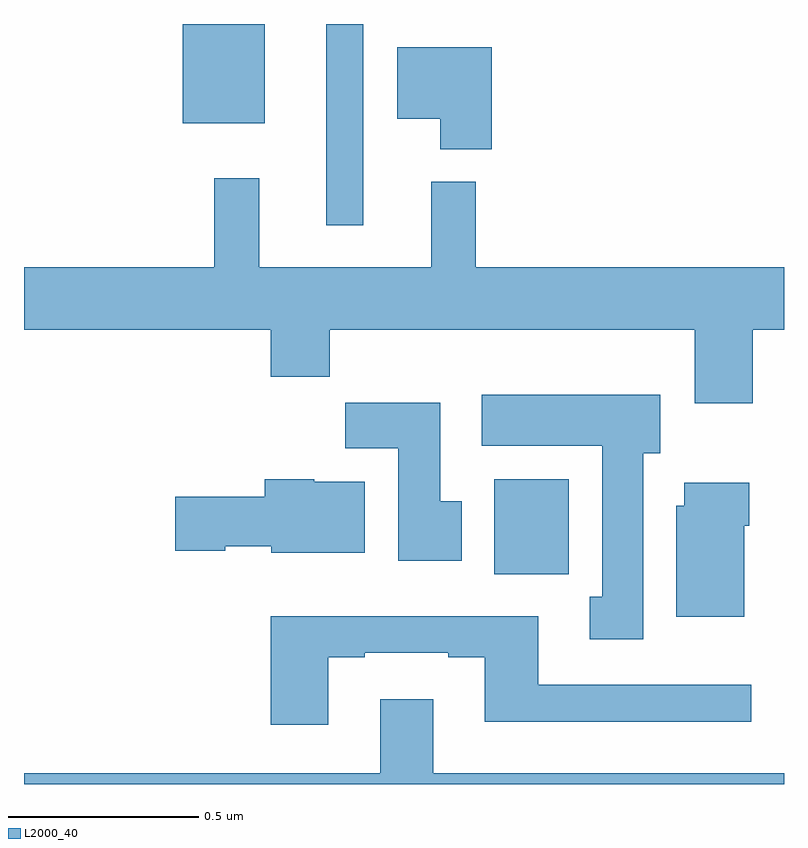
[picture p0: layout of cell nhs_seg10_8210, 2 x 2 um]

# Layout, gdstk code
import gdstk
lib = gdstk.Library(unit=1e-6, precision=1e-09)
def R(c, l, rs):  # rectangles x0, y0, x1, y1
    for r in rs: c.add(gdstk.rectangle(r[:2], r[2:], *l))
def P(c, l, *ps):  # polygons
    for p in ps: c.add(gdstk.Polygon(p, *l))
L2000_40 = (2000, 40)

nhs_seg10_8210 = lib.new_cell('nhs_seg10_8210')
R(nhs_seg10_8210, L2000_40, [(215.237,1253.052,215.433,1253.302), (214.796,1253.97,214.893,1254.5), (214.418,1254.239,214.633,1254.5)])
P(nhs_seg10_8210, L2000_40, [(215.231,1254.439),(214.982,1254.439),(214.982,1254.251),(215.096,1254.251),(215.096,1254.17),(215.231,1254.17)],
  [(215.918,1253.696),(216,1253.696),(216,1253.86),(215.189,1253.86),(215.189,1254.085),(215.072,1254.085),(215.072,1253.86),(214.619,1253.86),(214.619,1254.094),(214.501,1254.094),(214.501,1253.86),(214,1253.86),(214,1253.696),(214.649,1253.696),(214.649,1253.572),(214.805,1253.572),(214.805,1253.696),(215.765,1253.696),(215.765,1253.502),(215.918,1253.502)],
  [(215.629,1253.37),(215.674,1253.37),(215.674,1253.524),(215.205,1253.524),(215.205,1253.39),(215.522,1253.39),(215.522,1252.993),(215.489,1252.993),(215.489,1252.881),(215.629,1252.881)],
  [(215.152,1253.244),(215.095,1253.244),(215.095,1253.503),(214.846,1253.503),(214.846,1253.384),(214.985,1253.384),(214.985,1253.088),(215.152,1253.088)],
  [(214.897,1253.296),(214.764,1253.296),(214.764,1253.302),(214.634,1253.302),(214.634,1253.256),(214.398,1253.256),(214.398,1253.114),(214.53,1253.114),(214.53,1253.126),(214.65,1253.126),(214.65,1253.108),(214.897,1253.108)],
  [(215.896,1253.18),(215.909,1253.18),(215.909,1253.293),(215.738,1253.293),(215.738,1253.232),(215.717,1253.232),(215.717,1252.94),(215.896,1252.94)],
  [(214.801,1252.833),(214.897,1252.833),(214.897,1252.845),(215.117,1252.845),(215.117,1252.833),(215.213,1252.833),(215.213,1252.664),(215.914,1252.664),(215.914,1252.761),(215.353,1252.761),(215.353,1252.942),(214.649,1252.942),(214.649,1252.656),(214.801,1252.656)],
  [(216,1252.528),(215.077,1252.528),(215.077,1252.723),(214.937,1252.723),(214.937,1252.528),(214,1252.528),(214,1252.5),(216,1252.5)])

lib.write_gds('nhs_seg10_8210.gds')
